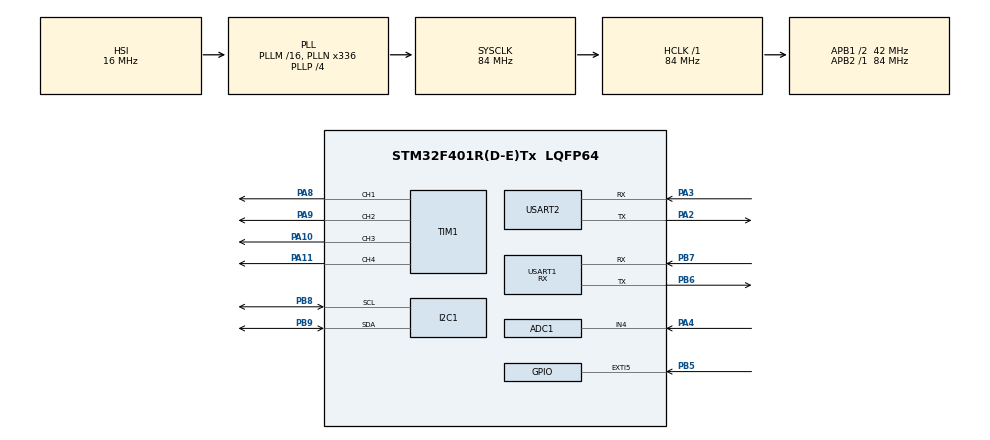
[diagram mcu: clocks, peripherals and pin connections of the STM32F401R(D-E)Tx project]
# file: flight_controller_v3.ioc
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ADC1.Channel-4\#ChannelRegularConversion=ADC_CHANNEL_4
ADC1.NbrOfConversionFlag=1
ADC1.Rank-4\#ChannelRegularConversion=1
ADC1.SamplingTime-4\#ChannelRegularConversion=ADC_SAMPLETIME_3CYCLES
ADC1.master=1
Dma.Request0=USART1_RX
Dma.USART1_RX.0.Direction=DMA_PERIPH_TO_MEMORY
Dma.USART1_RX.0.FIFOMode=DMA_FIFOMODE_DISABLE
Dma.USART1_RX.0.Instance=DMA2_Stream2
Dma.USART1_RX.0.MemDataAlignment=DMA_MDATAALIGN_BYTE
Dma.USART1_RX.0.MemInc=DMA_MINC_ENABLE
Dma.USART1_RX.0.Mode=DMA_NORMAL
Dma.USART1_RX.0.PeriphDataAlignment=DMA_PDATAALIGN_BYTE
Dma.USART1_RX.0.PeriphInc=DMA_PINC_DISABLE
Dma.USART1_RX.0.Priority=DMA_PRIORITY_LOW
Mcu.Family=STM32F4
Mcu.Name=STM32F401R(D-E)Tx
Mcu.Package=LQFP64
NVIC.DMA2_Stream2_IRQn=true\:0\:0\:false\:false\:true\:false\:true\:true
NVIC.I2C1_EV_IRQn=true\:0\:0\:false\:false\:true\:true\:true\:true
NVIC.PriorityGroup=NVIC_PRIORITYGROUP_0
NVIC.USART2_IRQn=true\:0\:0\:false\:false\:true\:true\:true\:true
PA10.Signal=S_TIM1_CH3
PA11.Signal=S_TIM1_CH4
PA2.Mode=Asynchronous
PA2.Signal=USART2_TX
PA3.Mode=Asynchronous
PA3.Signal=USART2_RX
PA4.Signal=ADCx_IN4
PA8.Signal=S_TIM1_CH1
PA9.Signal=S_TIM1_CH2
PB5.Signal=GPXTI5
PB6.Mode=Asynchronous
PB6.Signal=USART1_TX
PB7.Mode=Asynchronous
PB7.Signal=USART1_RX
PB8.Mode=I2C
PB8.Signal=I2C1_SCL
PB9.Mode=I2C
PB9.Signal=I2C1_SDA
ProjectManager.HeapSize=0x200
ProjectManager.StackSize=0x400
ProjectManager.TargetToolchain=STM32CubeIDE
RCC.AHBFreq_Value=84000000
RCC.APB1CLKDivider=RCC_HCLK_DIV2
RCC.APB1Freq_Value=42000000
RCC.APB1TimFreq_Value=84000000
RCC.APB2Freq_Value=84000000
RCC.APB2TimFreq_Value=84000000
RCC.CortexFreq_Value=84000000
RCC.HCLKFreq_Value=84000000
RCC.HSE_VALUE=8000000
RCC.HSI_VALUE=16000000
RCC.LSE_VALUE=32768
RCC.PLLN=336
RCC.PLLP=RCC_PLLP_DIV4
RCC.PLLQ=7
RCC.SYSCLKFreq_VALUE=84000000
RCC.SYSCLKSource=RCC_SYSCLKSOURCE_PLLCLK
RCC.VCOOutputFreq_Value=336000000
SH.ADCx_IN4.0=ADC1_IN4,IN4
SH.S_TIM1_CH1.0=TIM1_CH1,PWM Generation1 CH1
SH.S_TIM1_CH2.0=TIM1_CH2,PWM Generation2 CH2
SH.S_TIM1_CH3.0=TIM1_CH3,PWM Generation3 CH3
SH.S_TIM1_CH4.0=TIM1_CH4,Output Compare4 CH4
TIM1.Channel-Output\ Compare4\ CH4=TIM_CHANNEL_4
TIM1.Channel-PWM\ Generation1\ CH1=TIM_CHANNEL_1
TIM1.Channel-PWM\ Generation2\ CH2=TIM_CHANNEL_2
TIM1.Channel-PWM\ Generation3\ CH3=TIM_CHANNEL_3
TIM2.Period=999
TIM2.Prescaler=83
USART1.Mode=MODE_RX
USART1.VirtualMode=VM_ASYNC
USART2.VirtualMode=VM_ASYNC
VP_TIM2_VS_ClockSourceINT.Mode=Internal
board=NUCLEO-F401RE

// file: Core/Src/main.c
/* USER CODE BEGIN Header */
/**
  ******************************************************************************
  * @file           : main.c
  * @brief          : Main program body
  ******************************************************************************
  * @attention
  *
  * Copyright (c) 2026 STMicroelectronics.
  * All rights reserved.
  *
  * This software is licensed under terms that can be found in the LICENSE file
  * in the root directory of this software component.
  * If no LICENSE file comes with this software, it is provided AS-IS.
  *
  ******************************************************************************
  */
/* USER CODE END Header */
#include "main.h"

/* USER CODE BEGIN Includes */
#include "FlightController.h"
/* USER CODE END Includes */

ADC_HandleTypeDef hadc1;

I2C_HandleTypeDef hi2c1;

TIM_HandleTypeDef htim1;
TIM_HandleTypeDef htim2;

UART_HandleTypeDef huart1;
UART_HandleTypeDef huart2;
DMA_HandleTypeDef hdma_usart1_rx;

/* USER CODE BEGIN PV */
uint8_t uart_rx_buffer[1000];

MPU6050_Handle_t mpu;
HMC5883L_Handle_t hmc;
BMP280_Handle_t bmp;
Motor_t motors;
Drone_t drone;

PID_Controller_t pitch_pid;
PID_Controller_t roll_pid;
PID_Controller_t yaw_pid;
PID_Controller_t alt_pid;

RC_Command_t rc_cmd;
State_Estimator_t state;
/* USER CODE END PV */

void SystemClock_Config(void);
static void MX_GPIO_Init(void);
static void MX_DMA_Init(void);
static void MX_I2C1_Init(void);
static void MX_TIM1_Init(void);
static void MX_USART1_UART_Init(void);
static void MX_USART2_UART_Init(void);
static void MX_ADC1_Init(void);
static void MX_TIM2_Init(void);
/* USER CODE BEGIN PFP */
HAL_StatusTypeDef flight_controller_init();

/* USER CODE END PFP */

int main(void)
{

  /* MCU Configuration--------------------------------------------------------*/

  /* Reset of all peripherals, Initializes the Flash interface and the Systick. */
  HAL_Init();

  /* Configure the system clock */
  SystemClock_Config();

  /* Initialize all configured peripherals */
  MX_GPIO_Init();
  MX_DMA_Init();
  MX_I2C1_Init();
  MX_TIM1_Init();
  MX_USART1_UART_Init();
  MX_USART2_UART_Init();
  MX_ADC1_Init();
  MX_TIM2_Init();
  /* USER CODE BEGIN 2 */

  // Enable UART2 interrupt-based character reception for tuning commands
  HAL_UART_Receive_IT(&huart2, (uint8_t*)&huart2.pRxBuffPtr, 1);
  HAL_TIM_Base_Start_IT(&htim2);
  //the calibraion of the mpu starts triggering the mpu reads;
  // Start main control loop (100Hz)
  if (flight_controller_init() != HAL_OK){
	  Error_Handler();
  }

  /* USER CODE END 2 */

  /* Infinite loop */
  while (1)
  {

    /* USER CODE BEGIN 3 */

    // Process PID tuning commands from UART

    HAL_Delay(10);

  }
  /* USER CODE END 3 */
}

void SystemClock_Config(void)
{
  RCC_OscInitTypeDef RCC_OscInitStruct = {0};
  RCC_ClkInitTypeDef RCC_ClkInitStruct = {0};

  /** Configure the main internal regulator output voltage
  */
  __HAL_RCC_PWR_CLK_ENABLE();
  __HAL_PWR_VOLTAGESCALING_CONFIG(PWR_REGULATOR_VOLTAGE_SCALE2);

  /** Initializes the RCC Oscillators according to the specified parameters
  * in the RCC_OscInitTypeDef structure.
  */
  RCC_OscInitStruct.OscillatorType = RCC_OSCILLATORTYPE_HSI;
  RCC_OscInitStruct.HSIState = RCC_HSI_ON;
  RCC_OscInitStruct.HSICalibrationValue = RCC_HSICALIBRATION_DEFAULT;
  RCC_OscInitStruct.PLL.PLLState = RCC_PLL_ON;
  RCC_OscInitStruct.PLL.PLLSource = RCC_PLLSOURCE_HSI;
  RCC_OscInitStruct.PLL.PLLM = 16;
  RCC_OscInitStruct.PLL.PLLN = 336;
  RCC_OscInitStruct.PLL.PLLP = RCC_PLLP_DIV4;
  RCC_OscInitStruct.PLL.PLLQ = 7;
  if (HAL_RCC_OscConfig(&RCC_OscInitStruct) != HAL_OK)
  {
    Error_Handler();
  }

  /** Initializes the CPU, AHB and APB buses clocks
  */
  RCC_ClkInitStruct.ClockType = RCC_CLOCKTYPE_HCLK|RCC_CLOCKTYPE_SYSCLK
                              |RCC_CLOCKTYPE_PCLK1|RCC_CLOCKTYPE_PCLK2;
  RCC_ClkInitStruct.SYSCLKSource = RCC_SYSCLKSOURCE_PLLCLK;
  RCC_ClkInitStruct.AHBCLKDivider = RCC_SYSCLK_DIV1;
  RCC_ClkInitStruct.APB1CLKDivider = RCC_HCLK_DIV2;
  RCC_ClkInitStruct.APB2CLKDivider = RCC_HCLK_DIV1;

  if (HAL_RCC_ClockConfig(&RCC_ClkInitStruct, FLASH_LATENCY_2) != HAL_OK)
  {
    Error_Handler();
  }
}

static void MX_ADC1_Init(void)
{

  ADC_ChannelConfTypeDef sConfig = {0};

  /** Configure the global features of the ADC (Clock, Resolution, Data Alignment and number of conversion)
  */
  hadc1.Instance = ADC1;
  hadc1.Init.ClockPrescaler = ADC_CLOCK_SYNC_PCLK_DIV4;
  hadc1.Init.Resolution = ADC_RESOLUTION_12B;
  hadc1.Init.ScanConvMode = DISABLE;
  hadc1.Init.ContinuousConvMode = DISABLE;
  hadc1.Init.DiscontinuousConvMode = DISABLE;
  hadc1.Init.ExternalTrigConvEdge = ADC_EXTERNALTRIGCONVEDGE_NONE;
  hadc1.Init.ExternalTrigConv = ADC_SOFTWARE_START;
  hadc1.Init.DataAlign = ADC_DATAALIGN_RIGHT;
  hadc1.Init.NbrOfConversion = 1;
  hadc1.Init.DMAContinuousRequests = DISABLE;
  hadc1.Init.EOCSelection = ADC_EOC_SINGLE_CONV;
  if (HAL_ADC_Init(&hadc1) != HAL_OK)
  {
    Error_Handler();
  }

  /** Configure for the selected ADC regular channel its corresponding rank in the sequencer and its sample time.
  */
  sConfig.Channel = ADC_CHANNEL_4;
  sConfig.Rank = 1;
  sConfig.SamplingTime = ADC_SAMPLETIME_3CYCLES;
  if (HAL_ADC_ConfigChannel(&hadc1, &sConfig) != HAL_OK)
  {
    Error_Handler();
  }

}

static void MX_I2C1_Init(void)
{

  hi2c1.Instance = I2C1;
  hi2c1.Init.ClockSpeed = 100000;
  hi2c1.Init.DutyCycle = I2C_DUTYCYCLE_2;
  hi2c1.Init.OwnAddress1 = 0;
  hi2c1.Init.AddressingMode = I2C_ADDRESSINGMODE_7BIT;
  hi2c1.Init.DualAddressMode = I2C_DUALADDRESS_DISABLE;
  hi2c1.Init.OwnAddress2 = 0;
  hi2c1.Init.GeneralCallMode = I2C_GENERALCALL_DISABLE;
  hi2c1.Init.NoStretchMode = I2C_NOSTRETCH_DISABLE;
  if (HAL_I2C_Init(&hi2c1) != HAL_OK)
  {
    Error_Handler();
  }

}

static void MX_TIM1_Init(void)
{

  TIM_MasterConfigTypeDef sMasterConfig = {0};
  TIM_OC_InitTypeDef sConfigOC = {0};
  TIM_BreakDeadTimeConfigTypeDef sBreakDeadTimeConfig = {0};

  htim1.Instance = TIM1;
  htim1.Init.Prescaler = 0;
  htim1.Init.CounterMode = TIM_COUNTERMODE_UP;
  htim1.Init.Period = 65535;
  htim1.Init.ClockDivision = TIM_CLOCKDIVISION_DIV1;
  htim1.Init.RepetitionCounter = 0;
  htim1.Init.AutoReloadPreload = TIM_AUTORELOAD_PRELOAD_DISABLE;
  if (HAL_TIM_PWM_Init(&htim1) != HAL_OK)
  {
    Error_Handler();
  }
  if (HAL_TIM_OC_Init(&htim1) != HAL_OK)
  {
    Error_Handler();
  }
  sMasterConfig.MasterOutputTrigger = TIM_TRGO_RESET;
  sMasterConfig.MasterSlaveMode = TIM_MASTERSLAVEMODE_DISABLE;
  if (HAL_TIMEx_MasterConfigSynchronization(&htim1, &sMasterConfig) != HAL_OK)
  {
    Error_Handler();
  }
  sConfigOC.OCMode = TIM_OCMODE_PWM1;
  sConfigOC.Pulse = 0;
  sConfigOC.OCPolarity = TIM_OCPOLARITY_HIGH;
  sConfigOC.OCNPolarity = TIM_OCNPOLARITY_HIGH;
  sConfigOC.OCFastMode = TIM_OCFAST_DISABLE;
  sConfigOC.OCIdleState = TIM_OCIDLESTATE_RESET;
  sConfigOC.OCNIdleState = TIM_OCNIDLESTATE_RESET;
  if (HAL_TIM_PWM_ConfigChannel(&htim1, &sConfigOC, TIM_CHANNEL_1) != HAL_OK)
  {
    Error_Handler();
  }
  if (HAL_TIM_PWM_ConfigChannel(&htim1, &sConfigOC, TIM_CHANNEL_2) != HAL_OK)
  {
    Error_Handler();
  }
  if (HAL_TIM_PWM_ConfigChannel(&htim1, &sConfigOC, TIM_CHANNEL_3) != HAL_OK)
  {
    Error_Handler();
  }
  sConfigOC.OCMode = TIM_OCMODE_TIMING;
  if (HAL_TIM_OC_ConfigChannel(&htim1, &sConfigOC, TIM_CHANNEL_4) != HAL_OK)
  {
    Error_Handler();
  }
  sBreakDeadTimeConfig.OffStateRunMode = TIM_OSSR_DISABLE;
  sBreakDeadTimeConfig.OffStateIDLEMode = TIM_OSSI_DISABLE;
  sBreakDeadTimeConfig.LockLevel = TIM_LOCKLEVEL_OFF;
  sBreakDeadTimeConfig.DeadTime = 0;
  sBreakDeadTimeConfig.BreakState = TIM_BREAK_DISABLE;
  sBreakDeadTimeConfig.BreakPolarity = TIM_BREAKPOLARITY_HIGH;
  sBreakDeadTimeConfig.AutomaticOutput = TIM_AUTOMATICOUTPUT_DISABLE;
  if (HAL_TIMEx_ConfigBreakDeadTime(&htim1, &sBreakDeadTimeConfig) != HAL_OK)
  {
    Error_Handler();
  }
  HAL_TIM_MspPostInit(&htim1);

}

static void MX_TIM2_Init(void)
{

  TIM_ClockConfigTypeDef sClockSourceConfig = {0};
  TIM_MasterConfigTypeDef sMasterConfig = {0};

  htim2.Instance = TIM2;
  htim2.Init.Prescaler = 83;
  htim2.Init.CounterMode = TIM_COUNTERMODE_UP;
  htim2.Init.Period = 999;
  htim2.Init.ClockDivision = TIM_CLOCKDIVISION_DIV1;
  htim2.Init.AutoReloadPreload = TIM_AUTORELOAD_PRELOAD_DISABLE;
  if (HAL_TIM_Base_Init(&htim2) != HAL_OK)
  {
    Error_Handler();
  }
  sClockSourceConfig.ClockSource = TIM_CLOCKSOURCE_INTERNAL;
  if (HAL_TIM_ConfigClockSource(&htim2, &sClockSourceConfig) != HAL_OK)
  {
    Error_Handler();
  }
  sMasterConfig.MasterOutputTrigger = TIM_TRGO_RESET;
  sMasterConfig.MasterSlaveMode = TIM_MASTERSLAVEMODE_DISABLE;
  if (HAL_TIMEx_MasterConfigSynchronization(&htim2, &sMasterConfig) != HAL_OK)
  {
    Error_Handler();
  }

}

static void MX_USART1_UART_Init(void)
{

  huart1.Instance = USART1;
  huart1.Init.BaudRate = 115200;
  huart1.Init.WordLength = UART_WORDLENGTH_8B;
  huart1.Init.StopBits = UART_STOPBITS_1;
  huart1.Init.Parity = UART_PARITY_NONE;
  huart1.Init.Mode = UART_MODE_RX;
  huart1.Init.HwFlowCtl = UART_HWCONTROL_NONE;
  huart1.Init.OverSampling = UART_OVERSAMPLING_16;
  if (HAL_UART_Init(&huart1) != HAL_OK)
  {
    Error_Handler();
  }

}

static void MX_USART2_UART_Init(void)
{

  huart2.Instance = USART2;
  huart2.Init.BaudRate = 115200;
  huart2.Init.WordLength = UART_WORDLENGTH_8B;
  huart2.Init.StopBits = UART_STOPBITS_1;
  huart2.Init.Parity = UART_PARITY_NONE;
  huart2.Init.Mode = UART_MODE_TX_RX;
  huart2.Init.HwFlowCtl = UART_HWCONTROL_NONE;
  huart2.Init.OverSampling = UART_OVERSAMPLING_16;
  if (HAL_UART_Init(&huart2) != HAL_OK)
  {
    Error_Handler();
  }

}

static void MX_DMA_Init(void)
{

  /* DMA controller clock enable */
  __HAL_RCC_DMA2_CLK_ENABLE();

  /* DMA interrupt init */
  /* DMA2_Stream2_IRQn interrupt configuration */
  HAL_NVIC_SetPriority(DMA2_Stream2_IRQn, 0, 0);
  HAL_NVIC_EnableIRQ(DMA2_Stream2_IRQn);

}

static void MX_GPIO_Init(void)
{
  GPIO_InitTypeDef GPIO_InitStruct = {0};

  /* GPIO Ports Clock Enable */
  __HAL_RCC_GPIOA_CLK_ENABLE();
  __HAL_RCC_GPIOB_CLK_ENABLE();

  /*Configure GPIO pin : PB5 */
  GPIO_InitStruct.Pin = GPIO_PIN_5;
  GPIO_InitStruct.Mode = GPIO_MODE_IT_RISING;
  GPIO_InitStruct.Pull = GPIO_NOPULL;
  HAL_GPIO_Init(GPIOB, &GPIO_InitStruct);

}

/* USER CODE BEGIN 4 */
HAL_StatusTypeDef flight_controller_init(){
	 /*************** SENSORS + ACTUATORS INIT *******************/
    ibus_uart_init(&huart1);
	  MPU6050_Init(&mpu, &hi2c1, MPU6050_I2C_ADDR_LOW);
	  MPU6050_Calibrate(&mpu, 1000);
	  if (HMC5883L_Init(&hmc, &hi2c1, HMC5883L_I2C_ADDR) != HAL_OK){
		  return HAL_ERROR;
	  }
	  BMP280_Init(&bmp, &hi2c1);
	  ESC_PWM_Init(&htim1);
	  /*************************** CONTROL SYSTEM INIT *******************/
	  pid_init(&roll_pid, &pitch_pid, &yaw_pid, &alt_pid);
	/********************** DRONE STRUCTURE INIT  ************************/
	  drone.hmc = &hmc;
	  drone.mpu = &mpu;
	  drone.bmp = &bmp;
	  drone.motor_out = &motors;

	  drone.alt_pid = &alt_pid;
	  drone.pitch_pid = &pitch_pid;
	  drone.roll_pid = &roll_pid;
	  drone.yaw_pid = &yaw_pid;

	  drone.rc_cmd = &rc_cmd;
	  drone.state = &state;

	  ESC_PWM_Calibrate (&htim1, 1000);

	  drone.calib_state = CALIBRATED;
	  return HAL_OK;
}

/* USER CODE END 4 */

void Error_Handler(void)
{
  __disable_irq();
  while (1)
  {
  }
}
